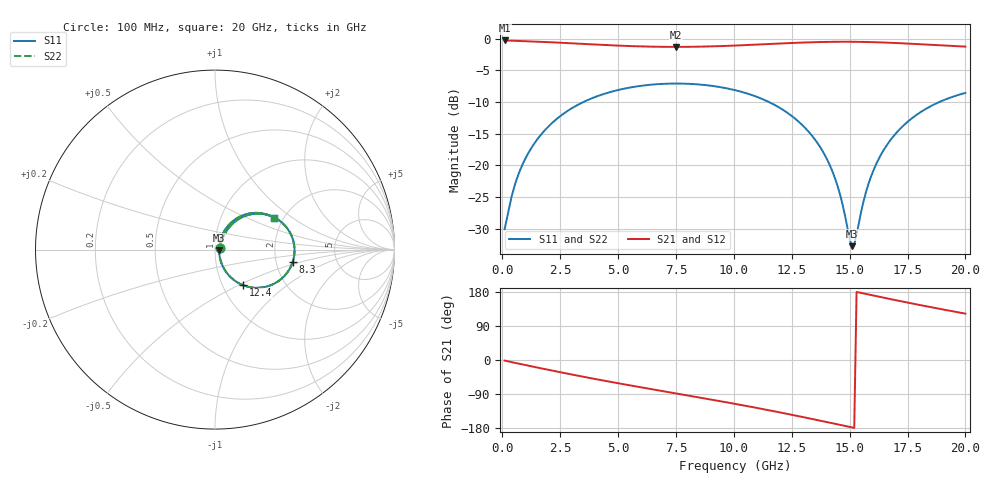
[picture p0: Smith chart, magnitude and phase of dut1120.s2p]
! Touchstone file exported from HFSS 2026.1.0
!  File:  C:/ffzhzh/LocalFiles/Ansys_Project_Files/temp_train_TSV_RDL_1120_1783306116_39728.aedt
!  Generated:  10:59:20 AM Jul  6, 2026
!  Design:  TSV_RDL
!  Project:  temp_train_TSV_RDL_1120_1783306116_39728
! Variables:
!  h_bsmrdl = 2.05um
!  h_ox = 20um
!  h_rdl = 5um
!  h_sub = 51.9um
!  h_tmrdl = 2.3um
!  h_tsv = 51.9um
!  h_via = 3um
!  l_bsmrdl = 649.59um
!  l_sub = 4188.37um
!  l_tmrdl = 426.63um
!  m_sub = 200um
!  pitch = 37.23um
!  r_tsv = 5.38um
!  s_tmrdl = 10um
!  w_bsmrdl = 22.34um
!  w_sub = 500um
!  w_tmrdl = 22.02um
!  x_tsv_center1 = 437.64um
!  x_tsv_center2 = 1109.57um
!  x_tsv_center3 = 1558.22um
!  x_tsv_center4 = 2230.15um
!  x_tsv_center5 = 2678.8um
!  x_tsv_center6 = 3350.73um
# GHz S MA R 50.000000
! Terminal data exported
! Port[1] = TM_RDL1_1_T1
! Port[2] = TM_RDL5_1_T1
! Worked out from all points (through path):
!   200 points, 100 MHz to 20 GHz, reference 50 ohm
!   highest |S21| = -0.25 dB at 100 MHz (marker M1); lowest = -1.3 dB at 7.5 GHz (marker M2)
!   group delay of S21, straight-line fit = 32.6 ps
!   lowest |S11| = -32.8 dB at 15.1 GHz (marker M3), VSWR 1.05, Z = 52.3 - j0.334 ohm
!   |S11| at or under -10 dB: start of sweep to 3.496 GHz; 11.52 GHz to 18.87 GHz (7.344 GHz wide, 48.3 % of centre)
!   |S22| runs from -32.7 to -7.1 dB; largest |S21 - S12| = 1.7e-14
!   S11 on the Smith chart (normalised r, x): 100 MHz: 1.06, +0.02; 8.3 GHz: 2.48, -0.42; 12.4 GHz: 1.25, -0.53; 20 GHz: 1.78, +0.74
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0.1  0.03127 21.6  0.9711 -1.4  0.9711 -1.4  0.03127 21.6
! Gamma 0 0 0 0
! Port Impedance 50 0 50 0
0.6  0.07559 55.4  0.9642 -8.2  0.9642 -8.2  0.07559 55.4
1.2  0.132 58.0  0.9553 -15.9  0.9553 -15.9  0.132 58.0
2.2  0.2205 51.7  0.9381 -28.5  0.9381 -28.5  0.2204 51.7
3.5  0.3165 39.3  0.912 -44.2  0.912 -44.2  0.3165 39.3
5.1  0.3979 23.1  0.8827 -62.4  0.8827 -62.4  0.3979 23.1
6.8  0.4393 6.1  0.8654 -80.8  0.8654 -80.8  0.4393 6.1
7.5  0.4432 -0.9  0.8637 -88.2  0.8637 -88.2  0.4432 -0.9
8.3  0.4385 -8.9  0.866 -96.7  0.866 -96.7  0.4385 -8.9
10.1  0.3911 -27.3  0.8856 -116.3  0.8856 -116.3  0.391 -27.3
12.4  0.2537 -51.6  0.9259 -143.3  0.9259 -143.3  0.2537 -51.6
13.4  0.1693 -61.2  0.9404 -155.9  0.9404 -155.9  0.1693 -61.1
14  0.1139 -64.9  0.946 -163.6  0.946 -163.6  0.1139 -64.8
14.4  0.07612 -64.1  0.948 -168.7  0.948 -168.7  0.07617 -63.8
14.7  0.0486 -57.3  0.9486 -172.6  0.9486 -172.6  0.0487 -57.0
15.1  0.02296 -8.0  0.9481 -177.9  0.9481 -177.9  0.02325 -7.8
15.2  0.02378 15.3  0.9478 -179.2  0.9478 -179.2  0.02407 15.2
15.6  0.05184 57.4  0.9454 175.6  0.9454 175.6  0.05199 57.1
15.9  0.07926 63.0  0.9427 171.8  0.9427 171.8  0.07937 62.8
16.7  0.1528 61.2  0.9321 161.5  0.9321 161.5  0.1528 61.1
18.1  0.2661 48.2  0.9056 144.3  0.9056 144.3  0.2661 48.1
20  0.3736 28.6  0.8683 122.4  0.8683 122.4  0.3736 28.6
